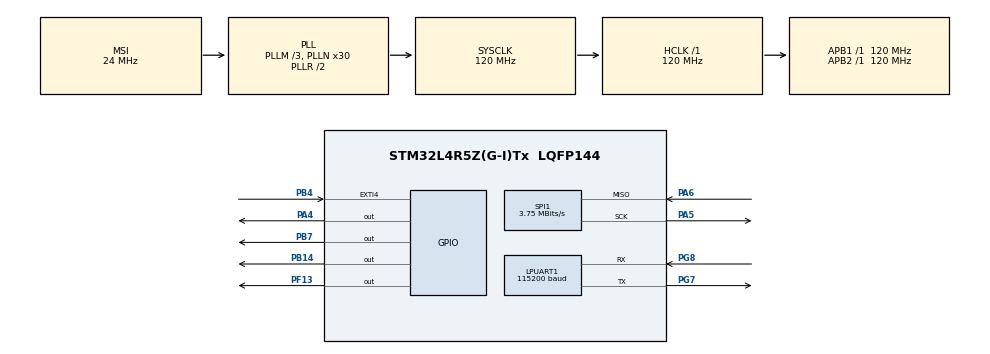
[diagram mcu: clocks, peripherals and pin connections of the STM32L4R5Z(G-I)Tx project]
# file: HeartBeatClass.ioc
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Dma.Request0=SPI1_RX
Dma.SPI1_RX.0.Direction=DMA_PERIPH_TO_MEMORY
Dma.SPI1_RX.0.EventEnable=DISABLE
Dma.SPI1_RX.0.Instance=DMA1_Channel1
Dma.SPI1_RX.0.MemDataAlignment=DMA_MDATAALIGN_BYTE
Dma.SPI1_RX.0.MemInc=DMA_MINC_ENABLE
Dma.SPI1_RX.0.Mode=DMA_NORMAL
Dma.SPI1_RX.0.PeriphDataAlignment=DMA_PDATAALIGN_BYTE
Dma.SPI1_RX.0.PeriphInc=DMA_PINC_DISABLE
Dma.SPI1_RX.0.Polarity=HAL_DMAMUX_REQUEST_GEN_RISING
Dma.SPI1_RX.0.Priority=DMA_PRIORITY_HIGH
Dma.SPI1_RX.0.RequestNumber=1
Dma.SPI1_RX.0.SignalID=NONE
Dma.SPI1_RX.0.SyncEnable=DISABLE
Dma.SPI1_RX.0.SyncPolarity=HAL_DMAMUX_SYNC_NO_EVENT
Dma.SPI1_RX.0.SyncRequestNumber=1
Dma.SPI1_RX.0.SyncSignalID=NONE
LPUART1.BaudRate=115200
LPUART1.WordLength=UART_WORDLENGTH_8B
Mcu.Family=STM32L4
Mcu.Name=STM32L4R5Z(G-I)Tx
Mcu.Package=LQFP144
NVIC.DMA1_Channel1_IRQn=true\:0\:0\:false\:false\:true\:false\:true
NVIC.EXTI4_IRQn=true\:0\:0\:false\:false\:true\:true\:true
NVIC.PriorityGroup=NVIC_PRIORITYGROUP_4
PA13\ (JTMS/SWDIO).Mode=Serial_Wire
PA13\ (JTMS/SWDIO).Signal=SYS_JTMS-SWDIO
PA14\ (JTCK/SWCLK).Mode=Serial_Wire
PA14\ (JTCK/SWCLK).Signal=SYS_JTCK-SWCLK
PA4.Signal=GPIO_Output
PA5.Mode=RX_Only_Simplex_Unidirect_Master
PA5.Signal=SPI1_SCK
PA6.Mode=RX_Only_Simplex_Unidirect_Master
PA6.Signal=SPI1_MISO
PB14.Signal=GPIO_Output
PB4\ (NJTRST).Signal=GPXTI4
PB7.Signal=GPIO_Output
PF13.Signal=GPIO_Output
PG7.Mode=Asynchronous
PG7.Signal=LPUART1_TX
PG8.Mode=Asynchronous
PG8.Signal=LPUART1_RX
ProjectManager.HeapSize=0x200
ProjectManager.StackSize=0x400
ProjectManager.TargetToolchain=STM32CubeIDE
RCC.ADCFreq_Value=96000000
RCC.AHBFreq_Value=120000000
RCC.APB1Freq_Value=120000000
RCC.APB1TimFreq_Value=120000000
RCC.APB2Freq_Value=120000000
RCC.APB2TimFreq_Value=120000000
RCC.CortexFreq_Value=120000000
RCC.HCLKFreq_Value=120000000
RCC.HSE_VALUE=8000000
RCC.HSI48_VALUE=48000000
RCC.HSI_VALUE=16000000
RCC.LSE_VALUE=32768
RCC.MSIClockRange=RCC_MSIRANGE_9
RCC.MSI_VALUE=24000000
RCC.PLLM1=3
RCC.PLLN=30
RCC.SYSCLKFreq_VALUE=120000000
RCC.SYSCLKSource=RCC_SYSCLKSOURCE_PLLCLK
RCC.USBFreq_Value=96000000
RCC.VCOOutputFreq_Value=240000000
SPI1.BaudRatePrescaler=SPI_BAUDRATEPRESCALER_32
SPI1.CalculateBaudRate=3.75 MBits/s
SPI1.DataSize=SPI_DATASIZE_8BIT
SPI1.Direction=SPI_DIRECTION_2LINES_RXONLY
SPI1.Mode=SPI_MODE_MASTER
SPI1.VirtualType=VM_MASTER
board=custom

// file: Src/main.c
/* USER CODE BEGIN Header */
/**
  ******************************************************************************
  * @file           : main.c
  * @brief          : Main program body
  ******************************************************************************
  * @attention
  *
  * Copyright (c) 2023 STMicroelectronics.
  * All rights reserved.
  *
  * This software is licensed under terms that can be found in the LICENSE file
  * in the root directory of this software component.
  * If no LICENSE file comes with this software, it is provided AS-IS.
  *
  ******************************************************************************
  */

  //////////////////////////////////////////////////////////////////////////////////////////////
  // Modified by: 	Dimitrios Samakovlis, Embedded Systems Laboratory, EPFL                   //
  // Date: 		      February 2024                                                             //
  //////////////////////////////////////////////////////////////////////////////////////////////

/* USER CODE END Header */

#include "main.h"

/* USER CODE BEGIN Includes */
#include <stdio.h>
#include <stdlib.h>
#include <stdint.h>
#include "delineationConditioned.h"
#include "defines.h"
/* USER CODE END Includes */

/* USER CODE BEGIN PD */
#define SPI_BUFFER_SIZE 768
#define NO_BATCHES 30
/* USER CODE END PD */

UART_HandleTypeDef hlpuart1;

SPI_HandleTypeDef hspi1;
DMA_HandleTypeDef hdma_spi1_rx;

/* USER CODE BEGIN PV */
int dma_working = 0, no_wakeups = 0, callback_flag = 0;
#ifdef DATA_ACQUISITION
int16_t ecg_3l[(NO_BATCHES * SPI_BUFFER_SIZE) / (2*3)][NLEADS];
#endif
/* USER CODE END PV */

void SystemClock_Config(void);
static void MX_GPIO_Init(void);
static void MX_LPUART1_UART_Init(void);
static void MX_DMA_Init(void);
static void MX_SPI1_Init(void);
/* USER CODE BEGIN PFP */
#ifdef __GNUC__
#define PUTCHAR_PROTOTYPE int __io_putchar(int ch)
#else
#define PUTCHAR_PROTOTYPE int fputc(int ch, FILE *f)
#endif
PUTCHAR_PROTOTYPE
{
  HAL_UART_Transmit(&hlpuart1, (uint8_t *)&ch, 1, HAL_MAX_DELAY);
  return ch;
}

// DMA SPI Callback
void HAL_SPI_RxCpltCallback(SPI_HandleTypeDef * hspi)
{
	dma_working = 0;
}

void gpio_toggle(){
	HAL_GPIO_TogglePin(GPIOF, GPIO_PIN_13);
}

void led_toggle(){
	HAL_GPIO_TogglePin(GPIOB, GPIO_PIN_14);
}

// STOP Mode 2
void deep_sleep(){
		  // Prepare sleep mode
			HAL_SuspendTick();

		  // Shut down FLASH memory
		  __HAL_FLASH_SLEEP_POWERDOWN_ENABLE();

		  /* Enter Sleep mode */
		  HAL_PWREx_EnterSTOP2Mode(PWR_STOPENTRY_WFI);

		  // Recover from sleep
		  SystemClock_Config();
		  HAL_ResumeTick();
}

// Light sleep
// Allows DMA to function
void light_sleep()	{
	 	// Sleep and wait for DMA to complete
		HAL_SuspendTick();
		while (dma_working)
			HAL_PWR_EnterSLEEPMode(PWR_MAINREGULATOR_ON, PWR_STOPENTRY_WFI);

		SystemClock_Config();
		HAL_ResumeTick();
		HAL_GPIO_WritePin(GPIOA, GPIO_PIN_4, GPIO_PIN_SET);
}

// Receive input signal through SPI
void fetch_input_SPI(uint8_t *Recv_Buffer, uint16_t buffer_size)	{
	// receive through DMA
	dma_working = 1;
	// Manually enable Chip select
	HAL_GPIO_WritePin(GPIOA, GPIO_PIN_4, GPIO_PIN_RESET);
	HAL_SPI_Receive_DMA(&hspi1, Recv_Buffer, buffer_size);
}

#ifdef DATA_ACQUISITION
// GPIO callback from wakeup interrupt
void HAL_GPIO_EXTI_Callback(uint16_t GPIO_Pin)	{
	// Recover from sleep
	SystemClock_Config();
	HAL_ResumeTick();

	fetch_input_SPI((uint8_t *) (ecg_3l[no_wakeups * (SPI_BUFFER_SIZE/(2*3))]), (uint16_t) SPI_BUFFER_SIZE);

	no_wakeups++;
	callback_flag = 1;
}
#endif

/* USER CODE END PFP */

int main(void)
{

  /* MCU Configuration--------------------------------------------------------*/

  /* Reset of all peripherals, Initializes the Flash interface and the Systick. */
  HAL_Init();

  /* Configure the system clock */
  SystemClock_Config();

  /* Initialize all configured peripherals */
  MX_GPIO_Init();
  MX_LPUART1_UART_Init();
  MX_DMA_Init();
  MX_SPI1_Init();

  /* Infinite loop */
  /* USER CODE BEGIN WHILE */
  while (1)
  {
	  deep_sleep();
#ifdef DATA_ACQUISITION
	  // run computations when signal acquisition is complete
	  if (no_wakeups == NO_BATCHES)	{
		no_wakeups = 0;		// reset counter before computing (counter increases in every RTC interrupt)
		gpio_toggle();
		classifyBeatECG();
	  	gpio_toggle();
	  }
	  // Light sleep while waiting for DMA to finish
	  light_sleep();
	  // Pull Chip select back high
	  HAL_GPIO_WritePin(GPIOA, GPIO_PIN_4, GPIO_PIN_SET);
#else
	  gpio_toggle();
	  classifyBeatECG();
	  gpio_toggle();
#endif

    /* USER CODE END WHILE */

  }
}

void SystemClock_Config(void)
{
  RCC_OscInitTypeDef RCC_OscInitStruct = {0};
  RCC_ClkInitTypeDef RCC_ClkInitStruct = {0};

  /** Configure the main internal regulator output voltage
  */
  if (HAL_PWREx_ControlVoltageScaling(PWR_REGULATOR_VOLTAGE_SCALE1_BOOST) != HAL_OK)
  {
    Error_Handler();
  }
  /** Initializes the RCC Oscillators according to the specified parameters
  * in the RCC_OscInitTypeDef structure.
  */
  RCC_OscInitStruct.OscillatorType = RCC_OSCILLATORTYPE_MSI;
  RCC_OscInitStruct.MSIState = RCC_MSI_ON;
  RCC_OscInitStruct.MSICalibrationValue = 0;
  RCC_OscInitStruct.MSIClockRange = RCC_MSIRANGE_9;
  RCC_OscInitStruct.PLL.PLLState = RCC_PLL_ON;
  RCC_OscInitStruct.PLL.PLLSource = RCC_PLLSOURCE_MSI;
  RCC_OscInitStruct.PLL.PLLM = 3;
  RCC_OscInitStruct.PLL.PLLN = 30;
  RCC_OscInitStruct.PLL.PLLP = RCC_PLLP_DIV2;
  RCC_OscInitStruct.PLL.PLLQ = RCC_PLLQ_DIV2;
  RCC_OscInitStruct.PLL.PLLR = RCC_PLLR_DIV2;
  if (HAL_RCC_OscConfig(&RCC_OscInitStruct) != HAL_OK)
  {
    Error_Handler();
  }
  /** Initializes the CPU, AHB and APB buses clocks
  */
  RCC_ClkInitStruct.ClockType = RCC_CLOCKTYPE_HCLK|RCC_CLOCKTYPE_SYSCLK
                              |RCC_CLOCKTYPE_PCLK1|RCC_CLOCKTYPE_PCLK2;
  RCC_ClkInitStruct.SYSCLKSource = RCC_SYSCLKSOURCE_PLLCLK;
  RCC_ClkInitStruct.AHBCLKDivider = RCC_SYSCLK_DIV1;
  RCC_ClkInitStruct.APB1CLKDivider = RCC_HCLK_DIV1;
  RCC_ClkInitStruct.APB2CLKDivider = RCC_HCLK_DIV1;

  if (HAL_RCC_ClockConfig(&RCC_ClkInitStruct, FLASH_LATENCY_5) != HAL_OK)
  {
    Error_Handler();
  }
}

static void MX_LPUART1_UART_Init(void)
{

  hlpuart1.Instance = LPUART1;
  hlpuart1.Init.BaudRate = 115200;
  hlpuart1.Init.WordLength = UART_WORDLENGTH_8B;
  hlpuart1.Init.StopBits = UART_STOPBITS_1;
  hlpuart1.Init.Parity = UART_PARITY_NONE;
  hlpuart1.Init.Mode = UART_MODE_TX_RX;
  hlpuart1.Init.HwFlowCtl = UART_HWCONTROL_NONE;
  hlpuart1.Init.OneBitSampling = UART_ONE_BIT_SAMPLE_DISABLE;
  hlpuart1.Init.ClockPrescaler = UART_PRESCALER_DIV1;
  hlpuart1.AdvancedInit.AdvFeatureInit = UART_ADVFEATURE_NO_INIT;
  hlpuart1.FifoMode = UART_FIFOMODE_DISABLE;
  if (HAL_UART_Init(&hlpuart1) != HAL_OK)
  {
    Error_Handler();
  }
  if (HAL_UARTEx_SetTxFifoThreshold(&hlpuart1, UART_TXFIFO_THRESHOLD_1_8) != HAL_OK)
  {
    Error_Handler();
  }
  if (HAL_UARTEx_SetRxFifoThreshold(&hlpuart1, UART_RXFIFO_THRESHOLD_1_8) != HAL_OK)
  {
    Error_Handler();
  }
  if (HAL_UARTEx_DisableFifoMode(&hlpuart1) != HAL_OK)
  {
    Error_Handler();
  }

}

static void MX_SPI1_Init(void)
{

  /* SPI1 parameter configuration*/
  hspi1.Instance = SPI1;
  hspi1.Init.Mode = SPI_MODE_MASTER;
  hspi1.Init.Direction = SPI_DIRECTION_2LINES_RXONLY;
  hspi1.Init.DataSize = SPI_DATASIZE_8BIT;
  hspi1.Init.CLKPolarity = SPI_POLARITY_LOW;
  hspi1.Init.CLKPhase = SPI_PHASE_1EDGE;
  hspi1.Init.NSS = SPI_NSS_SOFT;
  hspi1.Init.BaudRatePrescaler = SPI_BAUDRATEPRESCALER_32;
  hspi1.Init.FirstBit = SPI_FIRSTBIT_MSB;
  hspi1.Init.TIMode = SPI_TIMODE_DISABLE;
  hspi1.Init.CRCCalculation = SPI_CRCCALCULATION_DISABLE;
  hspi1.Init.CRCPolynomial = 7;
  hspi1.Init.CRCLength = SPI_CRC_LENGTH_DATASIZE;
  hspi1.Init.NSSPMode = SPI_NSS_PULSE_ENABLE;
  if (HAL_SPI_Init(&hspi1) != HAL_OK)
  {
    Error_Handler();
  }

}

static void MX_DMA_Init(void)
{

  /* DMA controller clock enable */
  __HAL_RCC_DMAMUX1_CLK_ENABLE();
  __HAL_RCC_DMA1_CLK_ENABLE();

  /* DMA interrupt init */
  /* DMA1_Channel1_IRQn interrupt configuration */
  HAL_NVIC_SetPriority(DMA1_Channel1_IRQn, 5, 0);
  HAL_NVIC_EnableIRQ(DMA1_Channel1_IRQn);

}

static void MX_GPIO_Init(void)
{
  GPIO_InitTypeDef GPIO_InitStruct = {0};

  /* GPIO Ports Clock Enable */
  __HAL_RCC_GPIOA_CLK_ENABLE();
  __HAL_RCC_GPIOF_CLK_ENABLE();
  __HAL_RCC_GPIOB_CLK_ENABLE();
  __HAL_RCC_GPIOG_CLK_ENABLE();
  HAL_PWREx_EnableVddIO2();

  /*Configure GPIO pin Output Level */
  HAL_GPIO_WritePin(GPIOA, GPIO_PIN_4, GPIO_PIN_RESET);

  /*Configure GPIO pin Output Level */
  HAL_GPIO_WritePin(GPIOF, GPIO_PIN_13, GPIO_PIN_RESET);

  /*Configure GPIO pin Output Level */
  HAL_GPIO_WritePin(GPIOB, GPIO_PIN_14|GPIO_PIN_7, GPIO_PIN_RESET);

  /*Configure GPIO pin : PA4 */
  GPIO_InitStruct.Pin = GPIO_PIN_4;
  GPIO_InitStruct.Mode = GPIO_MODE_OUTPUT_PP;
  GPIO_InitStruct.Pull = GPIO_NOPULL;
  GPIO_InitStruct.Speed = GPIO_SPEED_FREQ_LOW;
  HAL_GPIO_Init(GPIOA, &GPIO_InitStruct);

  /*Configure GPIO pin : PF13 */
  GPIO_InitStruct.Pin = GPIO_PIN_13;
  GPIO_InitStruct.Mode = GPIO_MODE_OUTPUT_PP;
  GPIO_InitStruct.Pull = GPIO_NOPULL;
  GPIO_InitStruct.Speed = GPIO_SPEED_FREQ_LOW;
  HAL_GPIO_Init(GPIOF, &GPIO_InitStruct);

  /*Configure GPIO pins : PB14 PB7 */
  GPIO_InitStruct.Pin = GPIO_PIN_14|GPIO_PIN_7;
  GPIO_InitStruct.Mode = GPIO_MODE_OUTPUT_PP;
  GPIO_InitStruct.Pull = GPIO_NOPULL;
  GPIO_InitStruct.Speed = GPIO_SPEED_FREQ_LOW;
  HAL_GPIO_Init(GPIOB, &GPIO_InitStruct);

  /*Configure GPIO pin : PB4 */
  GPIO_InitStruct.Pin = GPIO_PIN_4;
  GPIO_InitStruct.Mode = GPIO_MODE_IT_RISING;
  GPIO_InitStruct.Pull = GPIO_NOPULL;
  HAL_GPIO_Init(GPIOB, &GPIO_InitStruct);

  /* EXTI interrupt init*/
  HAL_NVIC_SetPriority(EXTI4_IRQn, 5, 0);
  HAL_NVIC_EnableIRQ(EXTI4_IRQn);

}

void Error_Handler(void)
{
  __disable_irq();
  while (1)
  {
  }
}
